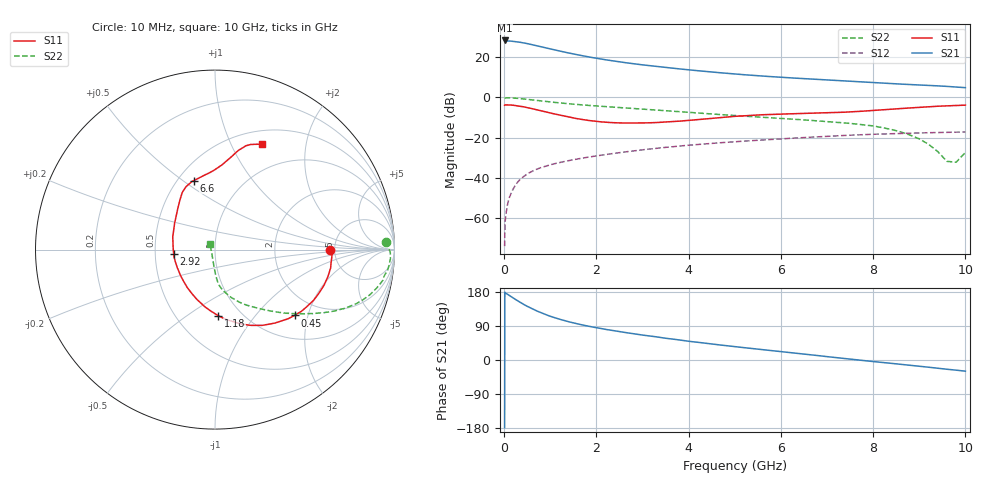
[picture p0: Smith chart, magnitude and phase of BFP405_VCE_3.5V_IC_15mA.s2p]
! Infineon Technologies  Discrete & RF Semiconductors
! BFP405
! VCE =  3.5 V,  IC =  15 mA
! Common Emitter S-Parameters:  Jan 2016
# GHz  S  MA  R  50
!  f  S11  S21  S12  S22
! GHz  MAG  ANG  MAG  ANG  MAG  ANG  MAG  ANG
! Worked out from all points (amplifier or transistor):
!   233 points, 10 MHz to 10 GHz, reference 50 ohm
!   highest |S21| = 28.3 dB at 10 MHz (marker M1)
!   |S21| within 3 dB of that: start of sweep to 777.9 MHz
!   unconditionally stable (mu >= 1): start of sweep to 18.62 MHz; 2.246 GHz to end of sweep
!   at 200 MHz: K = 0.21, MSG = 36.6 dB, |S12| = -45.4 dB
!   at 1.74 GHz: K = 0.87, MSG = 25.3 dB, |S12| = -30.0 dB
!   at 10 GHz: K = 1.35, MAG = 7.5 dB, |S12| = -17.2 dB
!   S11 on the Smith chart (normalised r, x): 10 MHz: 4.56, -0.03; 450 MHz: 1.51, -1.65; 1.18 GHz: 0.79, -0.67; 2.92 GHz: 0.62, -0.03; 6.6 GHz: 0.60, +0.55; 10 GHz: 0.66, +1.32
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0.01  0.6401 -0.2  26.12 -178.6  0.0002 -10.0  0.9561 2.7
0.02  0.6547 -1.1  25.88 177.0  0.0008 103.5  0.9672 0.5
0.05  0.6506 -4.5  25.48 175.4  0.0015 81.7  0.9769 -0.9
0.15  0.6469 -13.6  25.14 167.4  0.0041 82.9  0.9739 -5.1
0.24  0.6297 -21.9  24.58 160.2  0.0064 79.9  0.9567 -8.4
0.36  0.6016 -32.1  23.39 151.3  0.0094 76.2  0.935 -12.3
0.45  0.5752 -39.6  22.4 144.9  0.0114 73.9  0.9127 -14.8
0.6  0.5277 -50.9  20.6 135.4  0.0144 70.4  0.8725 -18.6
0.8  0.4669 -64.7  18.25 124.5  0.018 67.0  0.8199 -22.5
1  0.4105 -76.8  16.11 115.3  0.0211 64.8  0.7726 -25.6
1.18  0.3677 -87.2  14.46 108.5  0.0237 63.3  0.7355 -28.0
1.4  0.3249 -99.6  12.73 100.9  0.0268 62.0  0.696 -30.4
1.68  0.2845 -114.2  10.98 93.0  0.0307 60.8  0.6537 -33.0
2.2  0.2423 -141.0  8.635 80.8  0.038 58.7  0.5914 -37.2
2.92  0.2319 -174.3  6.631 67.3  0.0486 55.0  0.5208 -42.7
3.4  0.2411 166.8  5.73 59.3  0.0558 51.8  0.4765 -46.4
5.1  0.3439 124.1  3.75 33.8  0.0806 39.3  0.3489 -61.3
6.6  0.4023 107.0  2.889 14.3  0.102 27.9  0.2711 -72.9
6.8  0.4072 103.7  2.797 11.7  0.1049 26.2  0.2609 -74.3
8.4  0.5108 81.3  2.206 -8.9  0.1253 11.4  0.1592 -87.0
9.6  0.6188 71.2  1.882 -24.4  0.1356 1.1  0.0257 -135.7
10  0.6433 66.0  1.749 -29.5  0.1383 -1.8  0.0429 131.4
